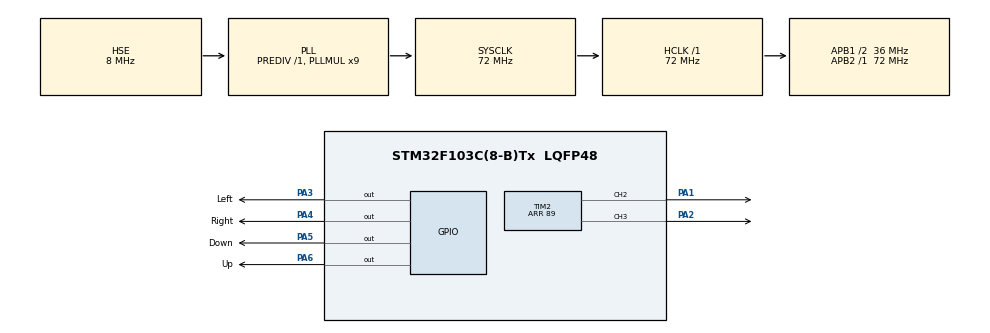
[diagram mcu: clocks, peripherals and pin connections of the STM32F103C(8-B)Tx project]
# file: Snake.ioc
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Dma.Request0=TIM2_CH2/CH4
Dma.Request1=TIM2_CH3
Dma.TIM2_CH2/CH4.0.Direction=DMA_MEMORY_TO_PERIPH
Dma.TIM2_CH2/CH4.0.Instance=DMA1_Channel7
Dma.TIM2_CH2/CH4.0.MemDataAlignment=DMA_MDATAALIGN_HALFWORD
Dma.TIM2_CH2/CH4.0.MemInc=DMA_MINC_ENABLE
Dma.TIM2_CH2/CH4.0.Mode=DMA_NORMAL
Dma.TIM2_CH2/CH4.0.PeriphDataAlignment=DMA_PDATAALIGN_HALFWORD
Dma.TIM2_CH2/CH4.0.PeriphInc=DMA_PINC_DISABLE
Dma.TIM2_CH2/CH4.0.Priority=DMA_PRIORITY_LOW
Dma.TIM2_CH3.1.Direction=DMA_MEMORY_TO_PERIPH
Dma.TIM2_CH3.1.Instance=DMA1_Channel1
Dma.TIM2_CH3.1.MemDataAlignment=DMA_MDATAALIGN_HALFWORD
Dma.TIM2_CH3.1.MemInc=DMA_MINC_ENABLE
Dma.TIM2_CH3.1.Mode=DMA_NORMAL
Dma.TIM2_CH3.1.PeriphDataAlignment=DMA_PDATAALIGN_HALFWORD
Dma.TIM2_CH3.1.PeriphInc=DMA_PINC_DISABLE
Dma.TIM2_CH3.1.Priority=DMA_PRIORITY_LOW
Mcu.Family=STM32F1
Mcu.Name=STM32F103C(8-B)Tx
Mcu.Package=LQFP48
NVIC.DMA1_Channel1_IRQn=true\:0\:0\:false\:false\:true\:false\:true\:true
NVIC.DMA1_Channel7_IRQn=true\:0\:0\:false\:false\:true\:false\:true\:true
NVIC.PriorityGroup=NVIC_PRIORITYGROUP_4
PA1.Signal=S_TIM2_CH2
PA13.Mode=Serial_Wire
PA13.Signal=SYS_JTMS-SWDIO
PA14.Mode=Serial_Wire
PA14.Signal=SYS_JTCK-SWCLK
PA2.Signal=S_TIM2_CH3
PA3.GPIO_Label=Left
PA3.Signal=GPIO_Output
PA4.GPIO_Label=Right
PA4.Signal=GPIO_Output
PA5.GPIO_Label=Down
PA5.Signal=GPIO_Output
PA6.GPIO_Label=Up
PA6.Signal=GPIO_Output
PD0-OSC_IN.Mode=HSE-External-Oscillator
PD0-OSC_IN.Signal=RCC_OSC_IN
PD1-OSC_OUT.Mode=HSE-External-Oscillator
PD1-OSC_OUT.Signal=RCC_OSC_OUT
ProjectManager.HeapSize=0x200
ProjectManager.StackSize=0x400
ProjectManager.TargetToolchain=STM32CubeIDE
RCC.AHBFreq_Value=72000000
RCC.APB1CLKDivider=RCC_HCLK_DIV2
RCC.APB1Freq_Value=36000000
RCC.APB1TimFreq_Value=72000000
RCC.APB2Freq_Value=72000000
RCC.APB2TimFreq_Value=72000000
RCC.HCLKFreq_Value=72000000
RCC.PLLMUL=RCC_PLL_MUL9
RCC.PLLSourceVirtual=RCC_PLLSOURCE_HSE
RCC.SYSCLKFreq_VALUE=72000000
RCC.SYSCLKSource=RCC_SYSCLKSOURCE_PLLCLK
RCC.USBFreq_Value=72000000
SH.S_TIM2_CH2.0=TIM2_CH2,PWM Generation2 CH2
SH.S_TIM2_CH3.0=TIM2_CH3,PWM Generation3 CH3
TIM2.Channel-PWM\ Generation2\ CH2=TIM_CHANNEL_2
TIM2.Channel-PWM\ Generation3\ CH3=TIM_CHANNEL_3
TIM2.Period=89
board=custom

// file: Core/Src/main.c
/* USER CODE BEGIN Header */
/**
  ******************************************************************************
  * @file           : main.c
  * @brief          : Main program body
  ******************************************************************************
  * @attention
  *
  * Copyright (c) 2022 STMicroelectronics.
  * All rights reserved.
  *
  * This software is licensed under terms that can be found in the LICENSE file
  * in the root directory of this software component.
  * If no LICENSE file comes with this software, it is provided AS-IS.
  *
  ******************************************************************************
  */
/* USER CODE END Header */
#include "main.h"

/* USER CODE BEGIN Includes */
#include "ws2812.h"
#include "stdlib.h"
/* USER CODE END Includes */

 TIM_HandleTypeDef htim2;
DMA_HandleTypeDef hdma_tim2_ch2_ch4;
DMA_HandleTypeDef hdma_tim2_ch3;

void SystemClock_Config(void);
static void MX_GPIO_Init(void);
static void MX_DMA_Init(void);
static void MX_TIM2_Init(void);
/* USER CODE BEGIN PFP */
void Draw_Field(void);
void DrawSnake();
void DrawPoint(int x, int y, int R, int G, int B);
/* USER CODE END PFP */

/* USER CODE BEGIN 0 */
int Height_Field = 7;
int Length_Field = 7;
int dir;
int num = 2;

struct {
	int x;
	int y;
} s [100];

struct {
	int x;
	int y;
} m;

void Tick()
{
	for (int i = num; i>0; --i)
	{
		s[i].x=s[i-1].x;
		s[i].y=s[i-1].y;
	}
	switch(dir)
	{
	case 0:
		s[0].y+=1;
		break;
	case 1:
		s[0].x-=1;
		break;
	case 2:
		s[0].x+=1;
		break;
	case 3:
		s[0].y-=1;
		break;
	default:

		break;
	}
	// Проверка на яблоко
	if ((s[0].x == m.x) && (s[0].y == m.y))
	{
		num++;
		m.x = rand() / Length_Field;
		m.y = rand() / Height_Field;
	}

	// Проверка на границы
	if ((s[0].X >= Length_Field) || (s[0].x < 0) || (s[0].y >= Height_Field) || (s[0].y < 0))
	{
		num = 2;
		s[0].x = 3;
	 	s[0].y = 3;
	 	ws2812_fill(255, 0, 0);
	 	ws2812_light();
	 	HAL_Delay(2000);
	}
	// Проверка на пресечения себя
	for (int i = 1; i < num; i++)
	{
		if ((s[0].x == s[i].x) && (s[0].y == s[i].y))
		{
			num = 2;
			s[0].x = 3;
		 	s[0].y = 3;
		 	ws2812_fill(255, 0, 0);
		 	ws2812_light();
		 	HAL_Delay(2000);
		}
	}
}
/* USER CODE END 0 */

int main(void)
{

  /* MCU Configuration--------------------------------------------------------*/

  /* Reset of all peripherals, Initializes the Flash interface and the Systick. */
  HAL_Init();

  /* Configure the system clock */
  SystemClock_Config();

  /* Initialize all configured peripherals */
  MX_GPIO_Init();
  MX_DMA_Init();
  MX_TIM2_Init();
  /* USER CODE BEGIN 2 */
  //Draw_Field();
  num = 2;
  s[0].x = 3;
  s[0].y = 3;
  m.x = rand() % Length_Field;
  m.y = rand() % Height_Field;
  /* USER CODE END 2 */

  /* Infinite loop */
  /* USER CODE BEGIN WHILE */
  while (1)
  {

	  if(HAL_GPIO_ReadPin(Down_GPIO_Port, Down_Pin))
	  {
		  dir = 3; // вниз
	  } else {
		  if(HAL_GPIO_ReadPin(Up_GPIO_Port, Up_Pin))
		  {
			  dir = 0; // вверх
		  } else {
			  if(HAL_GPIO_ReadPin(Left_GPIO_Port, Left_Pin))
			  {
				  dir = 1; // Налево
			  } else {
				  if(HAL_GPIO_ReadPin(Right_GPIO_Port, Right_Pin))
				  {
					  dir = 2; // Направо
				  }
			  }
		  }
	  }
	  Tick();
	  Draw_Field();
	  DrawFruct();
	  DrawSnake();
    /* USER CODE END WHILE */

  }
}

void SystemClock_Config(void)
{
  RCC_OscInitTypeDef RCC_OscInitStruct = {0};
  RCC_ClkInitTypeDef RCC_ClkInitStruct = {0};

  /** Initializes the RCC Oscillators according to the specified parameters
  * in the RCC_OscInitTypeDef structure.
  */
  RCC_OscInitStruct.OscillatorType = RCC_OSCILLATORTYPE_HSE;
  RCC_OscInitStruct.HSEState = RCC_HSE_ON;
  RCC_OscInitStruct.HSEPredivValue = RCC_HSE_PREDIV_DIV1;
  RCC_OscInitStruct.HSIState = RCC_HSI_ON;
  RCC_OscInitStruct.PLL.PLLState = RCC_PLL_ON;
  RCC_OscInitStruct.PLL.PLLSource = RCC_PLLSOURCE_HSE;
  RCC_OscInitStruct.PLL.PLLMUL = RCC_PLL_MUL9;
  if (HAL_RCC_OscConfig(&RCC_OscInitStruct) != HAL_OK)
  {
    Error_Handler();
  }

  /** Initializes the CPU, AHB and APB buses clocks
  */
  RCC_ClkInitStruct.ClockType = RCC_CLOCKTYPE_HCLK|RCC_CLOCKTYPE_SYSCLK
                              |RCC_CLOCKTYPE_PCLK1|RCC_CLOCKTYPE_PCLK2;
  RCC_ClkInitStruct.SYSCLKSource = RCC_SYSCLKSOURCE_PLLCLK;
  RCC_ClkInitStruct.AHBCLKDivider = RCC_SYSCLK_DIV1;
  RCC_ClkInitStruct.APB1CLKDivider = RCC_HCLK_DIV2;
  RCC_ClkInitStruct.APB2CLKDivider = RCC_HCLK_DIV1;

  if (HAL_RCC_ClockConfig(&RCC_ClkInitStruct, FLASH_LATENCY_2) != HAL_OK)
  {
    Error_Handler();
  }
}

static void MX_TIM2_Init(void)
{

  TIM_MasterConfigTypeDef sMasterConfig = {0};
  TIM_OC_InitTypeDef sConfigOC = {0};

  htim2.Instance = TIM2;
  htim2.Init.Prescaler = 0;
  htim2.Init.CounterMode = TIM_COUNTERMODE_UP;
  htim2.Init.Period = 89;
  htim2.Init.ClockDivision = TIM_CLOCKDIVISION_DIV1;
  htim2.Init.AutoReloadPreload = TIM_AUTORELOAD_PRELOAD_DISABLE;
  if (HAL_TIM_PWM_Init(&htim2) != HAL_OK)
  {
    Error_Handler();
  }
  sMasterConfig.MasterOutputTrigger = TIM_TRGO_RESET;
  sMasterConfig.MasterSlaveMode = TIM_MASTERSLAVEMODE_DISABLE;
  if (HAL_TIMEx_MasterConfigSynchronization(&htim2, &sMasterConfig) != HAL_OK)
  {
    Error_Handler();
  }
  sConfigOC.OCMode = TIM_OCMODE_PWM1;
  sConfigOC.Pulse = 0;
  sConfigOC.OCPolarity = TIM_OCPOLARITY_HIGH;
  sConfigOC.OCFastMode = TIM_OCFAST_DISABLE;
  if (HAL_TIM_PWM_ConfigChannel(&htim2, &sConfigOC, TIM_CHANNEL_2) != HAL_OK)
  {
    Error_Handler();
  }
  if (HAL_TIM_PWM_ConfigChannel(&htim2, &sConfigOC, TIM_CHANNEL_3) != HAL_OK)
  {
    Error_Handler();
  }
  HAL_TIM_MspPostInit(&htim2);

}

static void MX_DMA_Init(void)
{

  /* DMA controller clock enable */
  __HAL_RCC_DMA1_CLK_ENABLE();

  /* DMA interrupt init */
  /* DMA1_Channel1_IRQn interrupt configuration */
  HAL_NVIC_SetPriority(DMA1_Channel1_IRQn, 0, 0);
  HAL_NVIC_EnableIRQ(DMA1_Channel1_IRQn);
  /* DMA1_Channel7_IRQn interrupt configuration */
  HAL_NVIC_SetPriority(DMA1_Channel7_IRQn, 0, 0);
  HAL_NVIC_EnableIRQ(DMA1_Channel7_IRQn);

}

static void MX_GPIO_Init(void)
{
  GPIO_InitTypeDef GPIO_InitStruct = {0};

  /* GPIO Ports Clock Enable */
  __HAL_RCC_GPIOD_CLK_ENABLE();
  __HAL_RCC_GPIOA_CLK_ENABLE();

  /*Configure GPIO pin Output Level */
  HAL_GPIO_WritePin(GPIOA, Left_Pin|Right_Pin|Down_Pin|Up_Pin, GPIO_PIN_RESET);

  /*Configure GPIO pins : Left_Pin Right_Pin Down_Pin Up_Pin */
  GPIO_InitStruct.Pin = Left_Pin|Right_Pin|Down_Pin|Up_Pin;
  GPIO_InitStruct.Mode = GPIO_MODE_OUTPUT_PP;
  GPIO_InitStruct.Pull = GPIO_NOPULL;
  GPIO_InitStruct.Speed = GPIO_SPEED_FREQ_LOW;
  HAL_GPIO_Init(GPIOA, &GPIO_InitStruct);

}

/* USER CODE BEGIN 4 */
void DrawFruct()
{
	DrawPoint(m.x, m.y, 255, 0, 0);
}

void DrawPoint(int x, int y, int R, int G, int B)
{
	int Xpos;
	if(x%2)
	{ // X нечётная
		Xpos = 0;
		Xpos+=(s[0].x + 1)*7;
		Xpos-=s[0].y;
	} else {
	  // X чётная
		Xpos = 1;
		Xpos+=s[0].y;
		Xpos+=s[0].x*7;
	}

	ws2812_pixel_rgb_to_buf_dma(R, G, B, Xpos);
}

void Draw_Field()
{
	ws2812_fill(0,255,0); // Все в зеленый
}

void DrawSnake()
{
	for (int i = 0; i < num; i++)
	{
		DrawPoint(s[i].x, s[i].y, 0, 0, 255);
	}
}
/* USER CODE END 4 */

void Error_Handler(void)
{
  __disable_irq();
  while (1)
  {
  }
}
